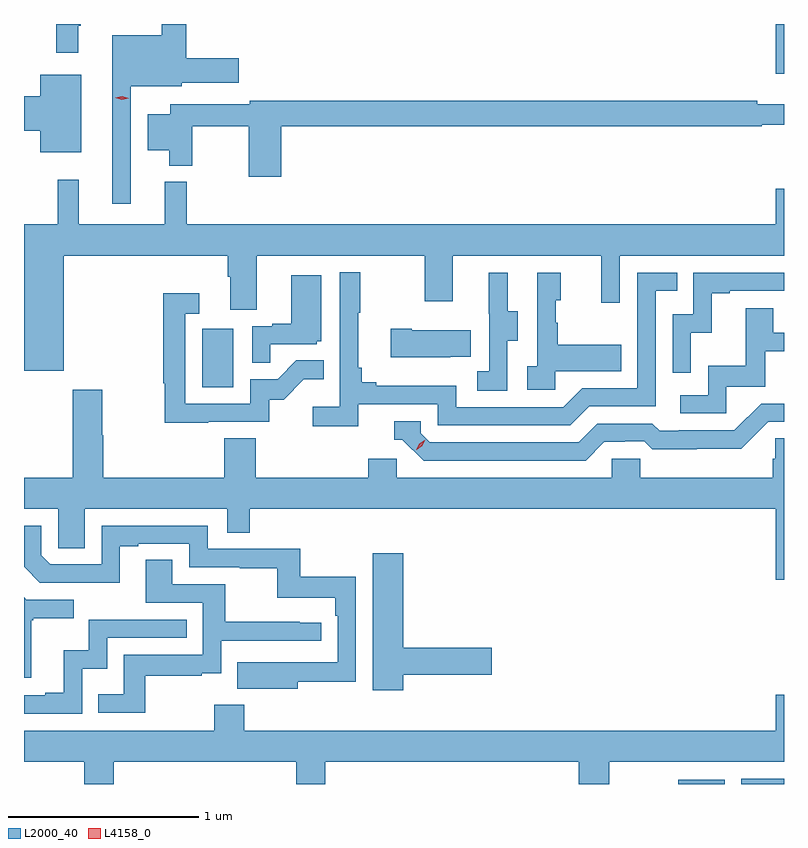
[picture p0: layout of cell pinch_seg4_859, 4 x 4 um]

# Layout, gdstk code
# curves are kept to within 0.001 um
import gdstk
lib = gdstk.Library(unit=1e-6, precision=1e-09)
def R(c, l, rs):  # rectangles x0, y0, x1, y1
    for r in rs: c.add(gdstk.rectangle(r[:2], r[2:], *l))
def P(c, l, *ps):  # polygons
    for p in ps: c.add(gdstk.Polygon(p, *l))
L2000_40 = (2000, 40)
L4158_0 = (4158, 0)

pinch_seg4_859 = lib.new_cell('pinch_seg4_859')
R(pinch_seg4_859, L2000_40, [(847.812,800.699,848.057,800.721), (848.142,800.699,848.368,800.727), (845.306,802.788,845.47,803.095), (848.324,804.438,848.368,804.699)])
P(pinch_seg4_859, L2000_40, [(844.929,804.371),(845.199,804.371),(845.199,804.389),(845.497,804.389),(845.497,804.519),(845.222,804.519),(845.222,804.699),(845.094,804.699),(845.094,804.64),(844.832,804.64),(844.832,803.754),(844.929,803.754)],
  [(844.654,804.689),(844.666,804.689),(844.666,804.699),(844.537,804.699),(844.537,804.549),(844.654,804.549)],
  [(844.669,804.433),(844.454,804.433),(844.454,804.32),(844.368,804.32),(844.368,804.137),(844.454,804.137),(844.454,804.023),(844.669,804.023)],
  [(845.723,804.16),(848.252,804.16),(848.252,804.168),(848.368,804.168),(848.368,804.277),(848.228,804.277),(848.228,804.296),(845.556,804.296),(845.556,804.276),(845.138,804.276),(845.138,804.223),(845.018,804.223),(845.018,804.035),(845.132,804.035),(845.132,803.954),(845.254,803.954),(845.254,804.16),(845.552,804.16),(845.552,803.895),(845.723,803.895)],
  [(844.576,803.48),(845.441,803.48),(845.441,803.368),(845.453,803.368),(845.453,803.194),(845.593,803.194),(845.593,803.48),(846.478,803.48),(846.478,803.241),(846.625,803.241),(846.625,803.48),(847.406,803.48),(847.406,803.232),(847.503,803.232),(847.503,803.48),(848.368,803.48),(848.368,803.833),(848.324,803.833),(848.324,803.644),(845.225,803.644),(845.225,803.869),(845.108,803.869),(845.108,803.644),(844.655,803.644),(844.655,803.878),(844.545,803.878),(844.545,803.644),(844.368,803.644),(844.368,802.874),(844.576,802.874)],
  [(846.128,802.698),(846.546,802.698),(846.546,802.587),(847.243,802.587),(847.342,802.686),(847.692,802.686),(847.692,803.295),(847.805,803.295),(847.805,803.391),(847.596,803.391),(847.596,802.782),(847.305,802.782),(847.206,802.683),(846.642,802.683),(846.642,802.795),(846.223,802.795),(846.223,802.814),(846.146,802.814),(846.146,802.891),(846.127,802.891),(846.127,803.179),(846.139,803.179),(846.139,803.392),(846.03,803.392),(846.03,802.684),(845.889,802.684),(845.889,802.582),(846.128,802.582)],
  [(847.878,803.075),(847.988,803.075),(847.988,803.283),(848.083,803.283),(848.083,803.295),(848.368,803.295),(848.368,803.391),(847.89,803.391),(847.89,803.172),(847.782,803.172),(847.782,802.863),(847.878,802.863)],
  [(847.164,802.871),(847.511,802.871),(847.511,803.011),(847.177,803.011),(847.177,803.126),(847.167,803.126),(847.167,803.244),(847.192,803.244),(847.192,803.389),(847.068,803.389),(847.068,802.898),(847.017,802.898),(847.017,802.773),(847.164,802.773)],
  [(846.912,803.032),(846.967,803.032),(846.967,803.187),(846.913,803.187),(846.913,803.389),(846.815,803.389),(846.815,803.175),(846.816,803.175),(846.816,802.871),(846.753,802.871),(846.753,802.768),(846.912,802.768)],
  [(845.663,803.013),(845.91,803.013),(845.91,803.028),(845.932,803.028),(845.932,803.377),(845.774,803.377),(845.774,803.122),(845.675,803.122),(845.675,803.109),(845.568,803.109),(845.568,802.915),(845.663,802.915)],
  [(845.339,802.605),(845.658,802.605),(845.658,802.722),(845.734,802.722),(845.841,802.829),(845.945,802.829),(845.945,802.928),(845.801,802.928),(845.703,802.83),(845.559,802.83),(845.559,802.701),(845.217,802.701),(845.217,803.175),(845.29,803.175),(845.29,803.281),(845.101,803.281),(845.101,802.808),(845.109,802.808),(845.109,802.6),(845.339,802.6)],
  [(848.064,802.791),(848.269,802.791),(848.269,802.977),(848.368,802.977),(848.368,803.073),(848.311,803.073),(848.311,803.203),(848.167,803.203),(848.167,802.9),(847.968,802.9),(847.968,802.746),(847.821,802.746),(847.821,802.65),(848.064,802.65)],
  [(846.611,802.949),(846.719,802.949),(846.719,803.086),(846.409,803.086),(846.409,803.094),(846.297,803.094),(846.297,802.946),(846.611,802.946)],
  [(848.368,802.52),(848.323,802.52),(848.323,802.41),(848.309,802.41),(848.309,802.312),(847.611,802.312),(847.611,802.41),(847.461,802.41),(847.461,802.312),(846.33,802.312),(846.33,802.41),(846.179,802.41),(846.179,802.312),(845.588,802.312),(845.588,802.52),(845.423,802.52),(845.423,802.312),(844.784,802.312),(844.784,802.535),(844.779,802.535),(844.779,802.774),(844.624,802.774),(844.624,802.312),(844.368,802.312),(844.368,802.148),(844.548,802.148),(844.548,801.94),(844.687,801.94),(844.687,802.148),(845.439,802.148),(845.439,802.021),(845.555,802.021),(845.555,802.148),(848.324,802.148),(848.324,801.774),(848.368,801.774)],
  [(847.423,802.5),(847.53,802.5),(847.53,802.503),(847.633,802.503),(847.675,802.461),(847.908,802.461),(847.908,802.463),(848.144,802.463),(848.286,802.605),(848.368,802.605),(848.368,802.701),(848.247,802.701),(848.106,802.56),(847.813,802.56),(847.813,802.557),(847.714,802.557),(847.675,802.596),(847.386,802.596),(847.287,802.497),(846.504,802.497),(846.456,802.545),(846.456,802.608),(846.317,802.608),(846.317,802.512),(846.36,802.512),(846.471,802.401),(847.324,802.401)],
  [(845.809,801.238),(846.114,801.238),(846.114,801.79),(845.821,801.79),(845.821,801.936),(845.334,801.936),(845.334,802.059),(844.776,802.059),(844.776,801.855),(844.506,801.855),(844.458,801.903),(844.458,802.059),(844.368,802.059),(844.368,801.843),(844.452,801.759),(844.873,801.758),(844.873,801.951),(844.969,801.951),(844.969,801.963),(845.238,801.963),(845.238,801.84),(845.503,801.84),(845.503,801.835),(845.7,801.835),(845.7,801.68),(846.005,801.68),(846.005,801.584),(846.018,801.584),(846.018,801.339),(845.491,801.34),(845.491,801.2),(845.809,801.2)],
  [(846.364,801.274),(846.829,801.274),(846.829,801.416),(846.364,801.416),(846.364,801.913),(846.203,801.913),(846.203,801.192),(846.364,801.192)],
  [(845.005,801.27),(845.303,801.27),(845.303,801.281),(845.406,801.281),(845.406,801.453),(845.932,801.453),(845.932,801.549),(845.819,801.549),(845.819,801.554),(845.426,801.554),(845.426,801.75),(845.149,801.75),(845.149,801.878),(845.009,801.878),(845.009,801.654),(845.31,801.654),(845.31,801.378),(844.894,801.378),(844.894,801.172),(844.759,801.172),(844.759,801.075),(845.005,801.075)],
  [(844.405,801.561),(844.417,801.561),(844.417,801.572),(844.63,801.572),(844.63,801.669),(844.38,801.669),(844.368,801.681),(844.368,801.258),(844.405,801.258)],
  [(844.674,801.305),(844.806,801.305),(844.806,801.468),(845.225,801.468),(845.225,801.564),(844.71,801.564),(844.71,801.403),(844.577,801.403),(844.577,801.178),(844.481,801.178),(844.481,801.165),(844.368,801.165),(844.368,801.069),(844.674,801.069)],
  [(844.841,800.816),(845.801,800.816),(845.801,800.699),(845.954,800.699),(845.954,800.816),(847.289,800.816),(847.289,800.699),(847.449,800.699),(847.449,800.816),(848.368,800.816),(848.368,801.169),(848.324,801.169),(848.324,800.98),(845.528,800.98),(845.528,801.115),(845.368,801.115),(845.368,800.98),(844.368,800.98),(844.368,800.816),(844.685,800.816),(844.685,800.699),(844.841,800.699)])
P(pinch_seg4_859, L4158_0, [(846.433,802.459),(846.433,802.459),(846.449,802.491),(846.48,802.511),(846.48,802.511),(846.48,802.51),(846.464,802.478),(846.434,802.459)],
  [(844.883,804.3),(844.848,804.311),(844.848,804.312),(844.848,804.312),(844.884,804.32),(844.919,804.309),(844.919,804.308),(844.919,804.308)])

lib.write_gds('pinch_seg4_859.gds')
